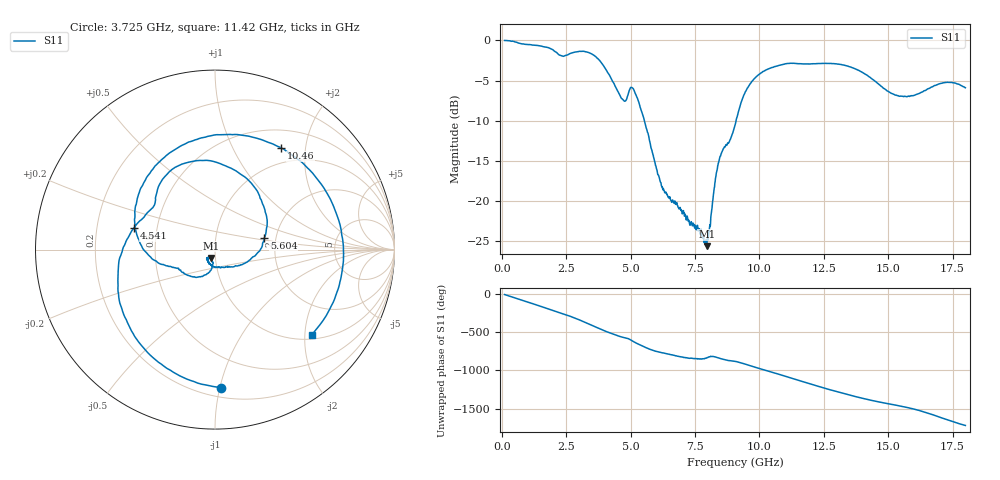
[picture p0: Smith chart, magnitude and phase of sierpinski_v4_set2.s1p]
!Keysight Technologies,N5222B,MY60213399,A.14.00.23
!Date: Monday, June 05, 2023 21:31:10
!Correction: S11(C  1-Port  )
!S1P File: Measurement: :
# Hz S  dB  R 50
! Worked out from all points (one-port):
!   1601 points, 100 MHz to 18 GHz, reference 50 ohm
!   lowest |S11| = -25.6 dB at 7.954 GHz (marker M1), VSWR 1.11, Z = 47.6 - j4.48 ohm
!   |S11| at or under -10 dB: 5.529 GHz to 9.092 GHz (3.563 GHz wide, 48.7 % of centre)
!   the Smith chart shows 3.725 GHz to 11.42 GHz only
!   S11 on the Smith chart (normalised r, x): 3.725 GHz: 0.27, -1.01; 4.541 GHz: 0.37, +0.11; 5.604 GHz: 1.74, +0.25; 10.46 GHz: 0.76, +1.58; 11.42 GHz: 1.10, -2.17
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1e8  -0.00 -11.2
7.93625e8  -0.44 -87.6
1.476062e9  -0.69 -162.4
1.834062e9  -0.95 156.2
2.3375e9  -1.94 99.8
2.717875e9  -1.56 56.1
3.109438e9  -1.36 3.1
3.72475e9  -2.28 -87.4
4.105125e9  -4.01 -141.7
4.541438e9  -6.62 165.0
4.575e9  -6.81 161.3
5.100812e9  -6.03 95.5
5.60425e9  -10.97 13.6
6.8125e9  -20.57 -95.9
7.953625e9  -25.65 -115.9
9.05e9  -10.57 -163.2
9.665312e9  -5.30 137.1
1.045962e10  -3.40 56.8
1.12875e10  -2.85 -27.3
1.142175e10  -2.87 -41.4
1.199231e10  -2.92 -99.8
1.260762e10  -2.87 -161.6
1.3525e10  -3.30 113.9
1.452069e10  -5.15 35.1
1.57625e10  -6.98 -47.8
1.646731e10  -6.20 -110.9
1.704906e10  -5.36 -178.1
1.8e10  -5.90 79.5
